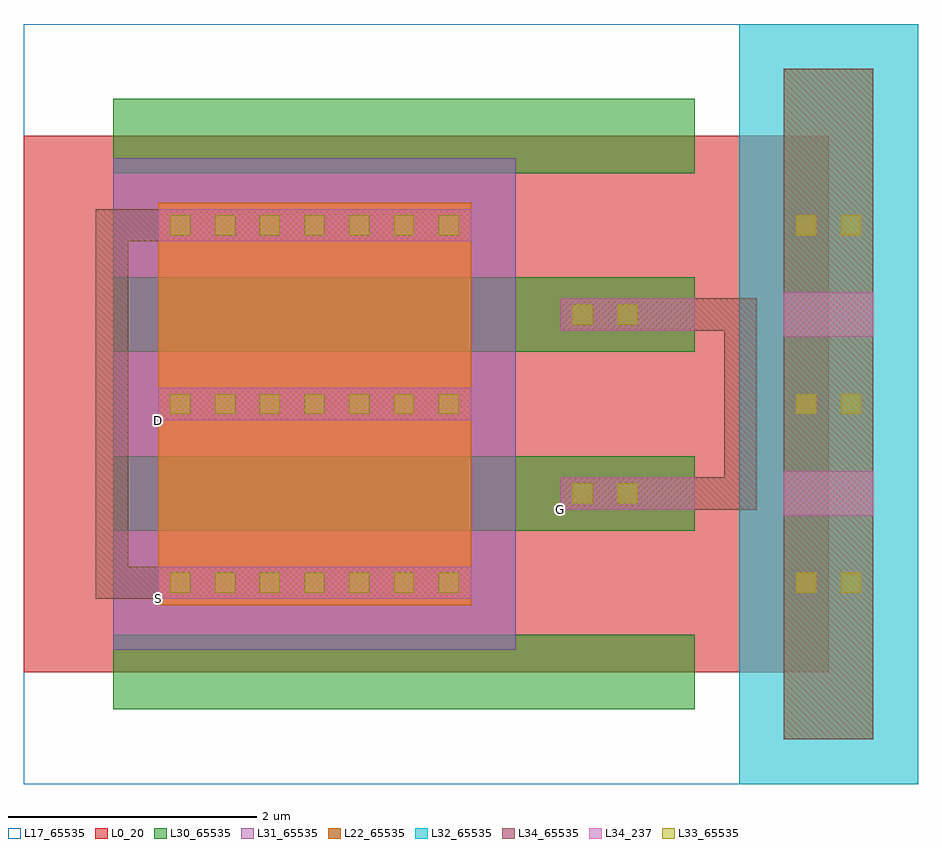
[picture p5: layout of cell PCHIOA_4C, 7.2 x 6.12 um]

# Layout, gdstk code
import gdstk
lib = gdstk.Library(unit=1e-6, precision=1e-09)
def R(c, l, rs):  # rectangles x0, y0, x1, y1
    for r in rs: c.add(gdstk.rectangle(r[:2], r[2:], *l))
def A(c, l, x, y, w, h, nx, ny, dx, dy):  # array of equal rectangles
    R(c, l, [(x+i*dx, y+j*dy, x+i*dx+w, y+j*dy+h) for i in range(nx) for j in range(ny)])
L0_20 = (0, 20)
L17_65535 = (17, 65535)
L22_65535 = (22, 65535)
L30_65535 = (30, 65535)
L31_65535 = (31, 65535)
L32_65535 = (32, 65535)
L33_65535 = (33, 65535)
L34_237 = (34, 237)
L34_65535 = (34, 65535)

pchio_4c = lib.new_cell('PCHIO_4C')
R(pchio_4c, L0_20, [(0,0,6.48,2.88)])
R(pchio_4c, L17_65535, [(0,-0.9,7.2,3.78)])
A(pchio_4c, L22_65535, 6.12, -0.54, 0.72, 0.36, 1, 11, 0, 0.36)
A(pchio_4c, L22_65535, 1.08, 0.54, 2.52, 0.36, 1, 5, 0, 0.36)
A(pchio_4c, L30_65535, 0.72, -0.3, 4.68, 0.6, 1, 3, 0, 1.44)
R(pchio_4c, L31_65535, [(0.72,0.18,3.96,2.7)])
R(pchio_4c, L32_65535, [(5.76,-0.9,7.2,3.78)])
A(pchio_4c, L33_65535, 1.18, 0.64, 0.16, 0.16, 7, 2, 0.36, 1.44)
R(pchio_4c, L33_65535, [(6.22,0.64,6.38,0.8), (6.58,0.64,6.74,0.8), (4.42,1.36,4.58,1.52), (4.78,1.36,4.94,1.52), (6.22,2.08,6.38,2.24), (6.58,2.08,6.74,2.24)])
R(pchio_4c, L34_237, [(1.08,0.59,3.6,0.85), (6.12,1.26,6.84,1.62), (4.32,1.31,5.4,1.57), (1.08,2.03,3.6,2.29)])
A(pchio_4c, L34_65535, 6.12, -0.54, 0.72, 0.36, 1, 11, 0, 0.36)
R(pchio_4c, L34_65535, [(1.08,0.59,3.6,0.85), (4.32,1.31,5.4,1.57), (1.08,2.03,3.6,2.29)])
pchio_4c.add(gdstk.Label('G', (4.32,1.31), layer=34, texttype=237))
pchio_4c.add(gdstk.Label('S', (1.08,0.59), layer=34, texttype=237))
pchio_4c.add(gdstk.Label('B', (6.12,1.26), layer=34, texttype=237))
pchio_4c.add(gdstk.Label('D', (1.08,2.03), layer=34, texttype=237))

pchioa_4c = lib.new_cell('PCHIOA_4C')
R(pchioa_4c, L0_20, [(0,0,6.48,4.32)])
R(pchioa_4c, L34_237, [(1.08,0.59,3.6,0.85), (4.32,1.31,5.4,1.57), (1.08,2.03,3.6,2.29)])
R(pchioa_4c, L34_65535, [(0.58,0.59,2.34,0.85), (0.58,0.59,0.84,3.73), (4.86,1.31,5.64,1.57), (5.64,1.31,5.9,3.01), (4.86,2.75,5.64,3.01), (0.58,3.47,2.34,3.73)])
pchioa_4c.add(gdstk.Reference(pchio_4c, (0,0)))
pchioa_4c.add(gdstk.Reference(pchio_4c, (0,1.44)))
pchioa_4c.add(gdstk.Label('S', (1.08,0.59), layer=58, texttype=65535))
pchioa_4c.add(gdstk.Label('G', (4.32,1.31), layer=58, texttype=65535))
pchioa_4c.add(gdstk.Label('D', (1.08,2.03), layer=34, texttype=237))
pchioa_4c.add(gdstk.Label('G', (4.32,1.31), layer=34, texttype=237))
pchioa_4c.add(gdstk.Label('S', (1.08,0.59), layer=34, texttype=237))

lib.write_gds('PCHIOA_4C.gds')
